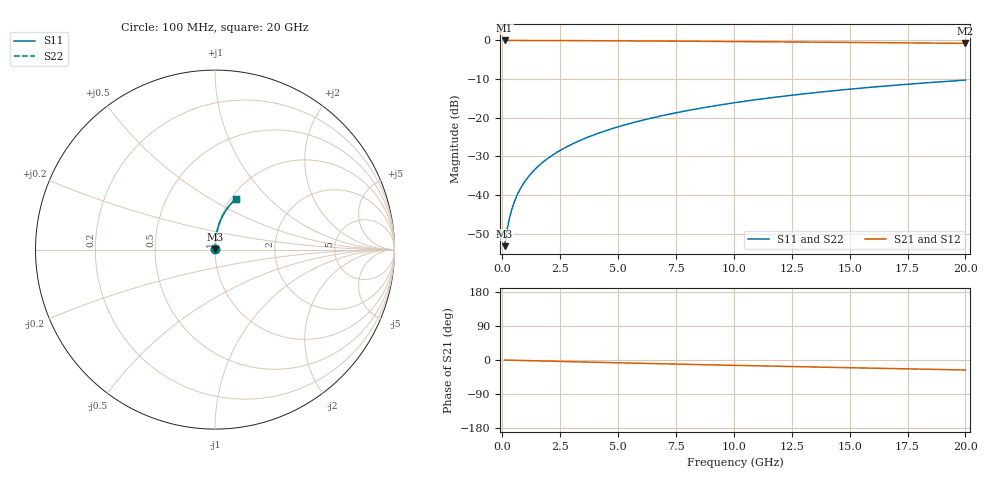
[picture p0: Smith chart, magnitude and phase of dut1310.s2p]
! Touchstone file exported from HFSS 2024.1.0
!  File:  C:/UserFiles/LocalFiles/RDL_TSV_Batchsim/temp_RDL_bottom_1310_1780368524.aedt
!  Generated:  10:51:28 AM Jun  2, 2026
!  Design:  RDL_bottom
!  Project:  temp_RDL_bottom_1310_1780368524
!  Setup:  Setup1
!  Solution:  Sweep
! Variables:
!  dtsv = 10.80580581um
!  hbump = 3um
!  htsv = 74.28um
!  ldown = 310.23um
!  lrdl = 100um
!  p = 40
!  p1 = 58.5um
!  rhole = 1um
!  t = 450um
!  tdown = 4.43um
!  trdl = 3.915915916um
!  wdown = 18.24um
!  wrdl = 20um
# GHz S MA R 50.000000
! Terminal data exported
! Port[1] = RDL1_T1
! Port[2] = RDL1_T2
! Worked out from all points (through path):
!   200 points, 100 MHz to 20 GHz, reference 50 ohm
!   highest |S21| = -0.01 dB at 100 MHz (marker M1); lowest = -0.8 dB at 20 GHz (marker M2)
!   group delay of S21, straight-line fit = 3.63 ps
!   lowest |S11| = -53.2 dB at 100 MHz (marker M3), VSWR 1.00, Z = 50.2 + j0.158 ohm
!   |S11| at or under -10 dB: start of sweep to end of sweep
!   |S22| runs from -53.2 to -10.3 dB; largest |S21 - S12| = 2.7e-15
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0.1  0.002179 46.3  0.9985 -0.2  0.9985 -0.2  0.002179 46.3
! Gamma 0 0 0 0
! Port Impedance 50 0 50 0
0.2  0.003469 64.5  0.9984 -0.3  0.9984 -0.3  0.00347 64.5
0.3  0.004901 72.2  0.9983 -0.5  0.9983 -0.5  0.004903 72.2
0.4  0.006374 76.3  0.9983 -0.6  0.9983 -0.6  0.006376 76.3
0.5  0.007862 78.7  0.9982 -0.8  0.9982 -0.8  0.007865 78.7
0.7  0.01085 81.4  0.998 -1.1  0.998 -1.1  0.01086 81.4
0.8  0.01235 82.2  0.9979 -1.2  0.9979 -1.2  0.01235 82.2
1  0.01534 83.3  0.9977 -1.5  0.9977 -1.5  0.01534 83.3
1.2  0.01832 84.0  0.9975 -1.8  0.9975 -1.8  0.01833 84.0
1.4  0.02131 84.5  0.9972 -2.1  0.9972 -2.1  0.02131 84.5
1.7  0.02579 85.0  0.9968 -2.6  0.9968 -2.6  0.02579 85.0
2  0.03028 85.3  0.9963 -3.0  0.9963 -3.0  0.03028 85.3
2.7  0.04081 85.6  0.9948 -4.1  0.9948 -4.1  0.04081 85.6
3.5  0.05298 85.6  0.9926 -5.2  0.9926 -5.2  0.05298 85.6
4.2  0.06374 85.4  0.9904 -6.3  0.9904 -6.3  0.06375 85.4
5  0.07618 84.9  0.9877 -7.4  0.9877 -7.4  0.07618 84.9
6.8  0.1046 83.5  0.9806 -9.9  0.9806 -9.9  0.1046 83.5
8.4  0.1301 81.9  0.9738 -12.0  0.9738 -12.0  0.1302 81.9
10.1  0.1573 79.9  0.9662 -14.2  0.9662 -14.2  0.1574 80.0
13.4  0.2094 75.9  0.9505 -18.4  0.9505 -18.4  0.2094 75.9
16.7  0.2593 71.7  0.9338 -22.4  0.9338 -22.4  0.2593 71.7
20  0.3064 67.6  0.9161 -26.3  0.9161 -26.3  0.3064 67.6
